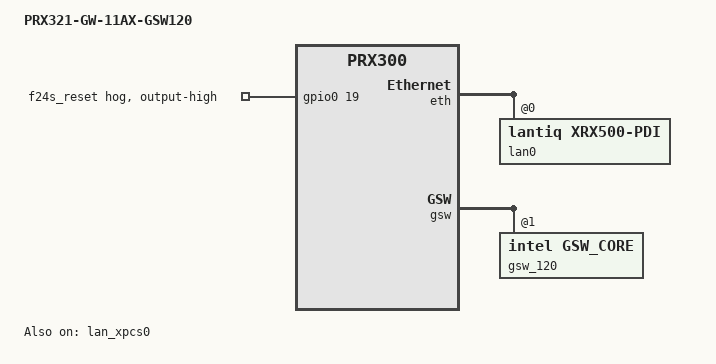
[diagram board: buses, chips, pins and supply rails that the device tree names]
#include "prx321-gw-11ax.dts"

/* Model configuration */
/ {
	model = "PRX321-GW-11AX-GSW120";
	compatible = "intel,prx321-gw-11ax-gsw120", "intel,prx300";

};

/******************************************************************************
 ** Board configuration: Enable GSWIP120 Switch
 ******************************************************************************/

&eth {
	lan0: interface@0 {
		compatible = "lantiq,xrx500-pdi";
		#address-cells = <1>;
		#size-cells = <0>;
		reg = <0>;
		intel,dp-dev-port = <3>;
		intel,dp-port-id = <3>;
		mac = <&gsw_mac1>;
		intel,extra-subif = <1>;
		intel,allow_subif_data_loop; /* Traffic between diff subif */

		lan0_eth: ethernet@1 {
			compatible = "lantiq,xrx500-pdi-port";
			reg = <1>;
			phy-mode = "rgmii";
		};
	};
};

&gsw_core {
	intel,eg-sptag = <1>; /* 0-Special Tag Insertion Disable, 1-Special Tag Inseration Enable */
};

&cb0phy0 {
	intel,mode = <1>; /*0-pcie, 1-xpcs*/
};

&pcie0 {
	status = "disabled";
};

&gpio0 {
	/* external switch reset */
	f24s_rest {
		gpio-hog;
		gpios = <19 GPIO_ACTIVE_HIGH>;
		output-high;
		line-name = "f24s_reset";
	};
};

&gsw {
	gsw_120: gsw_core@1 {
		status = "ok";
		compatible = "intel,gsw_core";
		num_resources = <0>;
		intel,gsw_ext-switch = <1>; /* <0> - MMIO SWITCH, <1> - EXTERNAL SWITCH */
		master-mdio = <&mdio0>;
		intel,gsw_ext-phyid = <0x0>;
		intel,gsw_ext-baseaddr = <0xe000>;
		intel,gsw_ext-sgmiibaseaddr = <0xD000>;
		intel,gsw-devid = <1>;
		intel,gsw-globalpce-rules = <64>;
		pinctrl-names = "default";
		pinctrl-0 = <&pinctrl_mdio0>;
	};
};

&gsw_mac1 {
	intel,tx-sptag = <2>;
	intel,rx-sptag = <2>;
};

&gsw_mac2 {
	intel,tx-sptag = <3>;
	intel,rx-sptag = <2>;
};

&lan_xpcs0 {
	status = "okay";
	xpcs-mode = <3>;
	xpcs-conn = <2>; /* <0> DISABLE ANEG, <1> MAC-SIDE SGMII, <2> PHY-SIDE SGMII */
	power-save = <0>;
};
